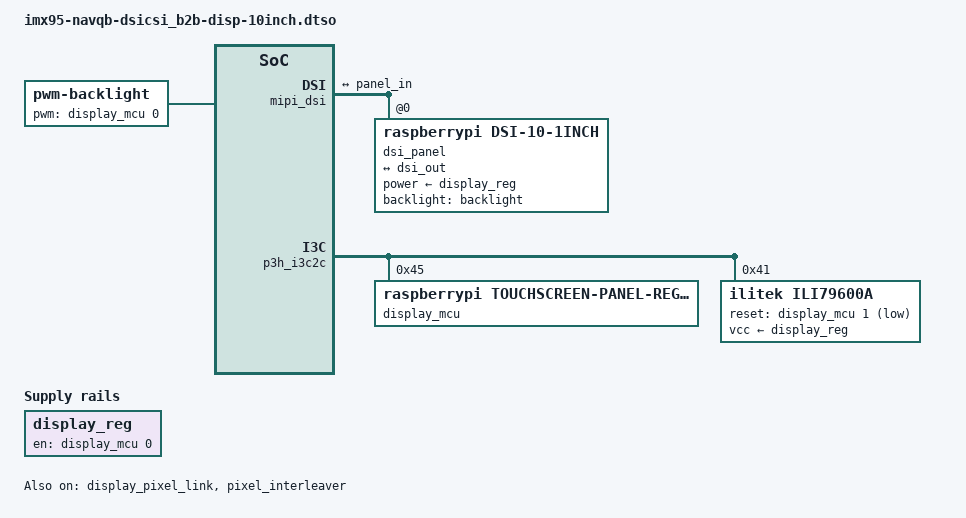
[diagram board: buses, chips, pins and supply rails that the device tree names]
// SPDX-License-Identifier: (GPL-2.0+ OR MIT)
/*
 * Copyright 2026 NXP
 *
 * NavQ-B port B (CSI/DSI combo connector) in display mode:
 * Raspberry Pi 10.1" DSI panel (1200x1920, ILI79600A, 4-lane) with
 * ILI79600A capacitive touch. Mutually exclusive with a port B camera overlay.
 */

/dts-v1/;
/plugin/;

#include <dt-bindings/gpio/gpio.h>

&{/} {
	display_reg: display_reg {
		compatible = "regulator-fixed";
		regulator-name = "display_reg_1";
		gpio = <&display_mcu 0 GPIO_ACTIVE_HIGH>;
		startup-delay-us = <50000>;
		enable-active-high;
	};

	backlight: panel_backlight@1 {
		compatible = "pwm-backlight";
		brightness-levels = <0 31>;
		num-interpolated-steps = <31>;
		default-brightness-level = <15>;
		pwms = <&display_mcu 0 200000 0>;
	};
};

&mipi_dsi {
	#address-cells = <1>;
	#size-cells = <0>;
	status = "okay";

	dsi_panel: dsi_panel@0 {
		reg = <0>;
		compatible = "raspberrypi,dsi-10-1inch";
		power-supply = <&display_reg>;
		backlight = <&backlight>;
		status = "okay";

		port {
			panel_in: endpoint {
				remote-endpoint = <&dsi_out>;
			};
		};
	};

	ports {
		#address-cells = <1>;
		#size-cells = <0>;

		port@1 {
			reg = <1>;

			dsi_out: endpoint {
				remote-endpoint = <&panel_in>;
			};
		};
	};
};

&display_pixel_link {
	status = "okay";
};

&pixel_interleaver {
	#address-cells = <1>;
	#size-cells = <0>;
	status = "okay";

	channel@0 {
		reg = <0>;
		status = "okay";
	};
};

&p3h_i3c2c {
	#address-cells = <1>;
	#size-cells = <0>;

	display_mcu: display_mcu@45 {
		compatible = "raspberrypi,touchscreen-panel-regulator-v2";
		reg = <0x45>;
		gpio-controller;
		#gpio-cells = <2>;
		#pwm-cells = <3>;
		status = "okay";
	};

	ili79600a: ts@41 {
		compatible = "ilitek,ili79600a";
		reg = <0x41>;
		reset-gpio = <&display_mcu 1 GPIO_ACTIVE_LOW>;
		vcc-supply = <&display_reg>;
		touchscreen-size-x = <1200>;
		touchscreen-size-y = <1920>;
		panel = <&dsi_panel>;
		status = "okay";
	};
};
